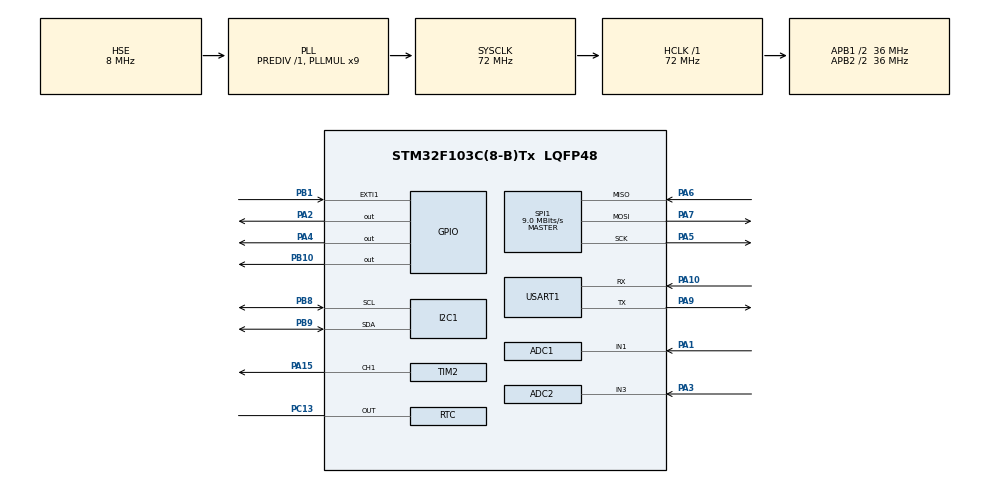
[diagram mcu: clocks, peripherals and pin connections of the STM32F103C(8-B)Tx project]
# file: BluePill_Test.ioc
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ADC1.Channel-1\#ChannelRegularConversion=ADC_CHANNEL_1
ADC1.NbrOfConversionFlag=1
ADC1.Rank-1\#ChannelRegularConversion=1
ADC1.SamplingTime-1\#ChannelRegularConversion=ADC_SAMPLETIME_1CYCLE_5
ADC1.master=1
ADC2.Channel-1\#ChannelRegularConversion=ADC_CHANNEL_3
ADC2.NbrOfConversionFlag=1
ADC2.Rank-1\#ChannelRegularConversion=1
ADC2.SamplingTime-1\#ChannelRegularConversion=ADC_SAMPLETIME_1CYCLE_5
FATFS._MAX_SS=4096
FATFS._USE_LFN=1
Mcu.Family=STM32F1
Mcu.Name=STM32F103C(8-B)Tx
Mcu.Package=LQFP48
NVIC.ADC1_2_IRQn=true\:0\:0\:false\:false\:true\:true\:true\:true
NVIC.EXTI1_IRQn=true\:0\:0\:false\:false\:true\:true\:true\:true
NVIC.PriorityGroup=NVIC_PRIORITYGROUP_4
NVIC.TIM3_IRQn=true\:0\:0\:false\:false\:true\:true\:true\:true
PA1.Signal=ADCx_IN1
PA10.Mode=Asynchronous
PA10.Signal=USART1_RX
PA13.Mode=Serial_Wire
PA13.Signal=SYS_JTMS-SWDIO
PA14.Mode=Serial_Wire
PA14.Signal=SYS_JTCK-SWCLK
PA15.Signal=S_TIM2_CH1_ETR
PA2.Signal=GPIO_Output
PA3.Signal=ADCx_IN3
PA4.Signal=GPIO_Output
PA5.Mode=Full_Duplex_Master
PA5.Signal=SPI1_SCK
PA6.Mode=Full_Duplex_Master
PA6.Signal=SPI1_MISO
PA7.Mode=Full_Duplex_Master
PA7.Signal=SPI1_MOSI
PA9.Mode=Asynchronous
PA9.Signal=USART1_TX
PB1.GPIO_PuPd=GPIO_PULLDOWN
PB1.Signal=GPXTI1
PB10.Signal=GPIO_Output
PB8.Mode=I2C
PB8.Signal=I2C1_SCL
PB9.Mode=I2C
PB9.Signal=I2C1_SDA
PC13-TAMPER-RTC.Mode=RTC OUT
PC13-TAMPER-RTC.Signal=RTC_OUT
PC14-OSC32_IN.Mode=LSE-External-Oscillator
PC14-OSC32_IN.Signal=RCC_OSC32_IN
PC15-OSC32_OUT.Mode=LSE-External-Oscillator
PC15-OSC32_OUT.Signal=RCC_OSC32_OUT
PD0-OSC_IN.Mode=HSE-External-Oscillator
PD0-OSC_IN.Signal=RCC_OSC_IN
PD1-OSC_OUT.Mode=HSE-External-Oscillator
PD1-OSC_OUT.Signal=RCC_OSC_OUT
ProjectManager.HeapSize=0x200
ProjectManager.StackSize=0x400
ProjectManager.TargetToolchain=STM32CubeIDE
RCC.ADCPresc=RCC_ADCPCLK2_DIV6
RCC.AHBFreq_Value=72000000
RCC.APB1CLKDivider=RCC_HCLK_DIV2
RCC.APB1Freq_Value=36000000
RCC.APB1TimFreq_Value=72000000
RCC.APB2CLKDivider=RCC_HCLK_DIV2
RCC.APB2Freq_Value=36000000
RCC.APB2TimFreq_Value=72000000
RCC.HCLKFreq_Value=72000000
RCC.PLLMUL=RCC_PLL_MUL9
RCC.PLLSourceVirtual=RCC_PLLSOURCE_HSE
RCC.SYSCLKFreq_VALUE=72000000
RCC.SYSCLKSource=RCC_SYSCLKSOURCE_PLLCLK
RCC.USBFreq_Value=72000000
RTC.Date=29
RTC.Month=RTC_MONTH_OCTOBER
RTC.WeekDay=RTC_WEEKDAY_TUESDAY
RTC.Year=24
SH.ADCx_IN1.0=ADC1_IN1,IN1
SH.ADCx_IN3.0=ADC2_IN3,IN3
SH.S_TIM2_CH1_ETR.0=TIM2_CH1,PWM Generation1 CH1
SPI1.BaudRatePrescaler=SPI_BAUDRATEPRESCALER_4
SPI1.CalculateBaudRate=9.0 MBits/s
SPI1.Direction=SPI_DIRECTION_2LINES
SPI1.Mode=SPI_MODE_MASTER
SPI1.VirtualType=VM_MASTER
TIM2.Channel-PWM\ Generation1\ CH1=TIM_CHANNEL_1
TIM2.Period=15-1
TIM2.Prescaler=7200-1
TIM3.AutoReloadPreload=TIM_AUTORELOAD_PRELOAD_DISABLE
TIM3.Period=72-1
TIM3.Prescaler=1000-1
USART1.VirtualMode=VM_ASYNC
VP_FATFS_VS_Generic.Mode=User_defined
VP_RTC_VS_RTC_Activate.Mode=RTC_Enabled
VP_RTC_VS_RTC_Calendar.Mode=RTC_Calendar
VP_TIM2_VS_ClockSourceINT.Mode=Internal
VP_TIM3_VS_ClockSourceINT.Mode=Internal
board=custom

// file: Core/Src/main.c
/* USER CODE BEGIN Header */
/**
  ******************************************************************************
  * @file           : main.c
  * @brief          : Main program body
  ******************************************************************************
  * @attention
  *
  * Copyright (c) 2023 STMicroelectronics.
  * All rights reserved.
  *
  * This software is licensed under terms that can be found in the LICENSE file
  * in the root directory of this software component.
  * If no LICENSE file comes with this software, it is provided AS-IS.
  *
  ******************************************************************************
  */
/* USER CODE END Header */
#include "main.h"
#include "adc.h"
#include "fatfs.h"
#include "i2c.h"
#include "rtc.h"
#include "spi.h"
#include "tim.h"
#include "usart.h"
#include "gpio.h"

/* USER CODE BEGIN Includes */
#include "stdio.h"
/* USER CODE END Includes */

/* USER CODE BEGIN PTD */
FATFS fs;
FIL fil;
FRESULT fres;
UINT bw;
char archivo_nombre[32];
uint8_t archivo_abierto = 0;  // Indica si el archivo está abierto
RTC_HandleTypeDef hrtc;

void crear_archivo();
void guardar_datos(uint8_t*);
void cerrar_archivo();
void Get_RTC_DateTime(char *datetime_str);
/* USER CODE END PTD */

/* USER CODE BEGIN PD */
#define ADDR                    0x52    // I²C address of VL6180X shifted by 1 bit (0x29 << 1) so the R/W command can be added.
#define MIN_RANGE_MEAS 			14 		//Min measure = 50mm (para freq)
#define MAX_RANGE_MEAS 			25		//Max measure = 60mm (para freq)
#define MIN_FSR_PRESS_OK		1500	//min value of FSR for hands position
#define duty_sound				7.5     //duty cycle for buzzer 666Hz --> 7.5 = 50% DC.
#define min_battery_OK			4000    //valor minimo de ADC para lectura de bateria y dar un OK para realizar el ensayo.

///////////////////////////////////////////////////////////////////
// register addresses VL6180x(por ahora no los uso)
///////////////////////////////////////////////////////////////////
enum regAddr
    {
      IDENTIFICATION__MODEL_ID              = 0x000,
      IDENTIFICATION__MODEL_REV_MAJOR       = 0x001,
      IDENTIFICATION__MODEL_REV_MINOR       = 0x002,
      IDENTIFICATION__MODULE_REV_MAJOR      = 0x003,
      IDENTIFICATION__MODULE_REV_MINOR      = 0x004,
      IDENTIFICATION__DATE_HI               = 0x006,
      IDENTIFICATION__DATE_LO               = 0x007,
      IDENTIFICATION__TIME                  = 0x008, // 16-bit

      SYSTEM__MODE_GPIO0                    = 0x010,
      SYSTEM__MODE_GPIO1                    = 0x011,
      SYSTEM__HISTORY_CTRL                  = 0x012,
      SYSTEM__INTERRUPT_CONFIG_GPIO         = 0x014,
      SYSTEM__INTERRUPT_CLEAR               = 0x015,
      SYSTEM__FRESH_OUT_OF_RESET            = 0x016,
      SYSTEM__GROUPED_PARAMETER_HOLD        = 0x017,

      SYSRANGE__START                       = 0x018,
      SYSRANGE__THRESH_HIGH                 = 0x019,
      SYSRANGE__THRESH_LOW                  = 0x01A,
      SYSRANGE__INTERMEASUREMENT_PERIOD     = 0x01B,
      SYSRANGE__MAX_CONVERGENCE_TIME        = 0x01C,
      SYSRANGE__CROSSTALK_COMPENSATION_RATE = 0x01E, // 16-bit
      SYSRANGE__CROSSTALK_VALID_HEIGHT      = 0x021,
      SYSRANGE__EARLY_CONVERGENCE_ESTIMATE  = 0x022, // 16-bit
      SYSRANGE__PART_TO_PART_RANGE_OFFSET   = 0x024,
      SYSRANGE__RANGE_IGNORE_VALID_HEIGHT   = 0x025,
      SYSRANGE__RANGE_IGNORE_THRESHOLD      = 0x026, // 16-bit
      SYSRANGE__MAX_AMBIENT_LEVEL_MULT      = 0x02C,
      SYSRANGE__RANGE_CHECK_ENABLES         = 0x02D,
      SYSRANGE__VHV_RECALIBRATE             = 0x02E,
      SYSRANGE__VHV_REPEAT_RATE             = 0x031,

      SYSALS__START                         = 0x038,
      SYSALS__THRESH_HIGH                   = 0x03A,
      SYSALS__THRESH_LOW                    = 0x03C,
      SYSALS__INTERMEASUREMENT_PERIOD       = 0x03E,
      SYSALS__ANALOGUE_GAIN                 = 0x03F,
      SYSALS__INTEGRATION_PERIOD            = 0x040,

      RESULT__RANGE_STATUS                  = 0x04D,
      RESULT__ALS_STATUS                    = 0x04E,
      RESULT__INTERRUPT_STATUS_GPIO         = 0x04F,
      RESULT__ALS_VAL                       = 0x050, // 16-bit
      RESULT__HISTORY_BUFFER_0              = 0x052, // 16-bit
      RESULT__HISTORY_BUFFER_1              = 0x054, // 16-bit
      RESULT__HISTORY_BUFFER_2              = 0x056, // 16-bit
      RESULT__HISTORY_BUFFER_3              = 0x058, // 16-bit
      RESULT__HISTORY_BUFFER_4              = 0x05A, // 16-bit
      RESULT__HISTORY_BUFFER_5              = 0x05C, // 16-bit
      RESULT__HISTORY_BUFFER_6              = 0x05E, // 16-bit
      RESULT__HISTORY_BUFFER_7              = 0x060, // 16-bit
      RESULT__RANGE_VAL                     = 0x062,
      RESULT__RANGE_RAW                     = 0x064,
      RESULT__RANGE_RETURN_RATE             = 0x066, // 16-bit
      RESULT__RANGE_REFERENCE_RATE          = 0x068, // 16-bit
      RESULT__RANGE_RETURN_SIGNAL_COUNT     = 0x06C, // 32-bit
      RESULT__RANGE_REFERENCE_SIGNAL_COUNT  = 0x070, // 32-bit
      RESULT__RANGE_RETURN_AMB_COUNT        = 0x074, // 32-bit
      RESULT__RANGE_REFERENCE_AMB_COUNT     = 0x078, // 32-bit
      RESULT__RANGE_RETURN_CONV_TIME        = 0x07C, // 32-bit
      RESULT__RANGE_REFERENCE_CONV_TIME     = 0x080, // 32-bit

      RANGE_SCALER                          = 0x096, // 16-bit

      READOUT__AVERAGING_SAMPLE_PERIOD      = 0x10A,
      FIRMWARE__BOOTUP                      = 0x119,
      FIRMWARE__RESULT_SCALER               = 0x120,
      I2C_SLAVE__DEVICE_ADDRESS             = 0x212,
      INTERLEAVED_MODE__ENABLE              = 0x2A3,
    };
/* USER CODE END PD */

RTC_HandleTypeDef hrtc;

SPI_HandleTypeDef hspi1;

void SystemClock_Config(void);
void MX_GPIO_Init(void);
void MX_SPI1_Init(void);
void MX_RTC_Init(void);
/* USER CODE BEGIN PFP */

int init = 1;
extern int volatile timer_1m; //flag para el timer de 1 minuto
extern int volatile timer_buzzer; //timer para activar el pwm del buzzer.
extern int volatile timer_startsound;
uint32_t last_compression_times[10] = {0}; // Ventana de tiempo de los últimos 2 segundos (10 mediciones de 200 ms)
uint8_t compression_index = 0;
int max_depth = 0;
void WriteByte(wchar_t, char);
char ReadByte(wchar_t);
int  VL6180X_Init();
int  VL6180X_Start_Range();
int  VL6180X_Poll_Range();
int  VL6180X_Read_Range();
int  VL6180X_Clear_Interrupts();
void startsound();
void buzzer();
int VL6180x_offset();
int FSR_offset();
int calculate_frequency();
status_TypeDef  FSR_Check(uint16_t);

/* USER CODE END PFP */

int main(void)
{
  /* USER CODE BEGIN 1 */
	uint8_t MSG[100] = {'\0'};
	int DISTANCE_value = 0, distance_offsetok = 0, FSR_offsetok = 0, FSR_value = 0, battery_lvl = 0;
	int compression_count = 0, compression_active = 0;
  /* USER CODE END 1 */

  /* MCU Configuration--------------------------------------------------------*/

  /* Reset of all peripherals, Initializes the Flash interface and the Systick. */
  HAL_Init();

  /* Configure the system clock */
  SystemClock_Config();

  /* Initialize all configured peripherals */
  MX_GPIO_Init();
  MX_I2C1_Init();
  MX_USART1_UART_Init();
  MX_ADC2_Init();
  MX_TIM2_Init();
  MX_TIM3_Init();
  MX_ADC1_Init();
  MX_SPI1_Init();
  MX_FATFS_Init();
  MX_RTC_Init();
  /* USER CODE BEGIN 2 */
  VL6180X_Init(); //load settings on to VL6180X.
  HAL_ADCEx_Calibration_Start(&hadc1);
  HAL_ADCEx_Calibration_Start(&hadc2);// Calibrate The ADC On Power-Up For Better Accuracy
  /* USER CODE END 2 */

  /* Infinite loop */
  /* USER CODE BEGIN WHILE */
  while (1)
  {
	  //AGREGAR LECTURA DE BATERIA, SI ES OK INICIAR ENSAYO, SINO INDICAR QUE LA BATERIA EST�? BAJA (LUZ O SONIDO?)
	// if(timer_1m >= 0.001 && timer_1m <= 750){startsound();	 }
	//  if(timer_1m >= 2200 && timer_1m <= 62200){ //ensayo de 1 minuto

		  //start sound buzzer
		  buzzer();

		  // start single range measurement
		  VL6180X_Start_Range();

		  // poll the VL6180X till new sample ready
		  VL6180X_Poll_Range();

		  // Start ADC Conversion FOR FSR & Read batery lvl
		  HAL_ADC_Start(&hadc1);
		  HAL_ADC_Start(&hadc2);

		  // Poll ADC1&ADC2 Perihperal & TimeOut = 1mSec
		  HAL_ADC_PollForConversion(&hadc1, 1);
		  HAL_ADC_PollForConversion(&hadc2, 1);
		  battery_lvl = HAL_ADC_GetValue(&hadc1);

		  //funcion para obtener offset del sensor de distancia y FSR
		  if(init==1){
			  distance_offsetok = VL6180x_offset();
			  FSR_offsetok = FSR_offset();
		  }
		  init = 0;

		  //if (!archivo_abierto) {
		  	//			crear_archivo();
		  		//	}

		  // read range result in [mm] (AVG)
		  DISTANCE_value = 0, FSR_value = 0;
		  for(int a = 0; a < 10; a++){
			  VL6180X_Start_Range();
			  VL6180X_Poll_Range();
			  DISTANCE_value += VL6180X_Read_Range();
			  FSR_value += HAL_ADC_GetValue(&hadc2);
			 // HAL_Delay(1); //estaba en 2, probar y despues probar sacandolo.
		  }

		  DISTANCE_value = distance_offsetok - (DISTANCE_value/10); //calculo de distancia restando el offset.
		  FSR_value = (FSR_value/10) - FSR_offsetok; //calculo FSR menos el offset
		  if(DISTANCE_value < 0 ){DISTANCE_value = 0;} //esto es por si tira algun valor negativo (-2 x ej), pongo q directamente sea 0
		  if(FSR_value < 0 ){FSR_value = 0;}

		  // Detección de compresión
		            if (DISTANCE_value >= MIN_RANGE_MEAS && DISTANCE_value <= MAX_RANGE_MEAS) {
		                if (!compression_active) {
		                    compression_active = 1;
		                }
		            } else {
		                if (compression_active) {
		                    compression_active = 0; // Final de la compresión
		                    last_compression_times[compression_index] = HAL_GetTick();
		                    compression_index = (compression_index + 1) % 10;
		                    if (DISTANCE_value > max_depth) {
		                  	  max_depth = DISTANCE_value; // Actualizar máxima profundidad alcanzada
		                    }
		                    int frequency = calculate_frequency(); // Calcular frecuencia

		                    // Enviar datos al finalizar la compresión
		                    const char* hand_position = (FSR_Check(FSR_value) == PASS_OK) ? "OK" : "NOK";
		                    sprintf(MSG, "\nUBICACION= %s MAX PROFUNDIDAD= %d FRECUENCIA= %d Hz", hand_position, max_depth, frequency);
		                    HAL_UART_Transmit(&huart1, MSG, sizeof(MSG), 100);

		                    max_depth = 0; // Reiniciar profundidad máxima para la siguiente compresión
		                }
		            }
		            //guardar_datos(MSG);
		            VL6180X_Clear_Interrupts();
		        }

		        if (timer_1m > 62200) { // Termina ensayo
		            HAL_TIM_Base_Stop_IT(&htim3);
		            HAL_TIM_PWM_Stop(&htim2, TIM_CHANNEL_1);
		            cerrar_archivo();
		            timer_1m = 0;
		            init = 1;
		            compression_count = 0;
		        }
		    }
  /* USER CODE END 3 */

void SystemClock_Config(void)
{
  RCC_OscInitTypeDef RCC_OscInitStruct = {0};
  RCC_ClkInitTypeDef RCC_ClkInitStruct = {0};
  RCC_PeriphCLKInitTypeDef PeriphClkInit = {0};

  /** Initializes the RCC Oscillators according to the specified parameters
  * in the RCC_OscInitTypeDef structure.
  */
  RCC_OscInitStruct.OscillatorType = RCC_OSCILLATORTYPE_LSI|RCC_OSCILLATORTYPE_HSE;
  RCC_OscInitStruct.HSEState = RCC_HSE_ON;
  RCC_OscInitStruct.HSEPredivValue = RCC_HSE_PREDIV_DIV1;
  RCC_OscInitStruct.HSIState = RCC_HSI_ON;
  RCC_OscInitStruct.LSIState = RCC_LSI_ON;
  RCC_OscInitStruct.PLL.PLLState = RCC_PLL_ON;
  RCC_OscInitStruct.PLL.PLLSource = RCC_PLLSOURCE_HSE;
  RCC_OscInitStruct.PLL.PLLMUL = RCC_PLL_MUL9;
  if (HAL_RCC_OscConfig(&RCC_OscInitStruct) != HAL_OK)
  {
    Error_Handler();
  }

  /** Initializes the CPU, AHB and APB buses clocks
  */
  RCC_ClkInitStruct.ClockType = RCC_CLOCKTYPE_HCLK|RCC_CLOCKTYPE_SYSCLK
                              |RCC_CLOCKTYPE_PCLK1|RCC_CLOCKTYPE_PCLK2;
  RCC_ClkInitStruct.SYSCLKSource = RCC_SYSCLKSOURCE_PLLCLK;
  RCC_ClkInitStruct.AHBCLKDivider = RCC_SYSCLK_DIV1;
  RCC_ClkInitStruct.APB1CLKDivider = RCC_HCLK_DIV2;
  RCC_ClkInitStruct.APB2CLKDivider = RCC_HCLK_DIV2;

  if (HAL_RCC_ClockConfig(&RCC_ClkInitStruct, FLASH_LATENCY_2) != HAL_OK)
  {
    Error_Handler();
  }
  PeriphClkInit.PeriphClockSelection = RCC_PERIPHCLK_RTC|RCC_PERIPHCLK_ADC;
  PeriphClkInit.RTCClockSelection = RCC_RTCCLKSOURCE_LSI;
  PeriphClkInit.AdcClockSelection = RCC_ADCPCLK2_DIV6;
  if (HAL_RCCEx_PeriphCLKConfig(&PeriphClkInit) != HAL_OK)
  {
    Error_Handler();
  }
}

/* USER CODE BEGIN 4 */

void crear_archivo() {

	fres = f_mount(&fs, "", 1);

	if (fres != FR_OK) {
		return;
	}

	char archivo_nombre[50];
	Get_RTC_DateTime(archivo_nombre);

	if (!archivo_abierto) {

		fres = f_open(&fil, archivo_nombre, FA_OPEN_ALWAYS | FA_WRITE | FA_READ);
		archivo_abierto= 1;

		if (fres != FR_OK) {
			// Si hay un error al abrir el archivo, salir del ciclo
			return;
		}

	}

}

void guardar_datos(uint8_t* datos) {
	// Verifica si el archivo está abierto
	if (archivo_abierto) {
		f_write(&fil, datos, sizeof(uint8_t) * 100, &bw);
	}
}

void cerrar_archivo() {
	if (archivo_abierto) {
		f_close(&fil);  // Cerrar el archivo
		archivo_abierto = 0;  // Marcamos que el archivo está cerrado

	}
}

void Get_RTC_DateTime(char *datetime_str) {
	RTC_TimeTypeDef sTime;
	RTC_DateTypeDef sDate;

	// Obtener la hora actual
	HAL_RTC_GetTime(&hrtc, &sTime, RTC_FORMAT_BIN);

	// Obtener la fecha actual
	HAL_RTC_GetDate(&hrtc, &sDate, RTC_FORMAT_BIN);

	// Formatear la fecha y la hora en una cadena
	sprintf(datetime_str, "Ensayo_%02d-%02d-%02d_%02d-%02d-%02d.txt",
			sDate.Year + 2000,  // Año
			sDate.Month,        // Mes
			sDate.Date,         // Día
			sTime.Hours,        // Hora
			sTime.Minutes,      // Minuto
			sTime.Seconds);     // Segundo
}

///////////////////////////////////////////////////////////////////
// ISR PIN_B1 PULL UP
// DESC.: START BUTTON.
///////////////////////////////////////////////////////////////////
void HAL_GPIO_EXTI_Callback(uint16_t GPIO_Pin)
{
	if(GPIO_Pin == GPIO_PIN_1){
		HAL_TIM_Base_Start_IT(&htim3); //START TIMER 1mS
	}
}

///////////////////////////////////////////////////////////////////
// Split 16-bit register address into two bytes and write
// the address + data via I²C
///////////////////////////////////////////////////////////////////

void WriteByte(wchar_t reg_addr, char data2wr) {
	uint8_t data_write[3];

	data_write[0] = (reg_addr >> 8) & 0xFF; // MSB of register address
	data_write[1] = reg_addr & 0xFF;       // LSB of register address
	data_write[2] = data2wr & 0xFF;
	HAL_I2C_Master_Transmit(&hi2c1, ADDR, data_write, 3, 1000);
}

///////////////////////////////////////////////////////////////////
// Split 16-bit register address into two bytes and write
// required register address to VL6180X and read the data back
///////////////////////////////////////////////////////////////////
char ReadByte(wchar_t reg) {
	uint8_t data_write[2];
	uint8_t data_read[1];

	data_write[0] = (reg >> 8) & 0xFF; // MSB of register address
	data_write[1] = reg & 0xFF;       // LSB of register address

	HAL_I2C_Master_Transmit(&hi2c1, ADDR, data_write, 2, 1000);
	HAL_I2C_Master_Receive(&hi2c1, ADDR, data_read, 1, 1000);
	return data_read[0];
}

///////////////////////////////////////////////////////////////////
//DESC.: load VL6180X settings
///////////////////////////////////////////////////////////////////

int VL6180X_Init() {

	HAL_GPIO_WritePin(GPIOB, GPIO_PIN_10, SET); //GPIO0 to logic ‘1’ allows the device to come out of reset.
	HAL_Delay(1);								//Necesita ese ms.
	uint8_t reset;

	reset = ReadByte(0x0016);
	if(reset != 1){
		WriteByte(0x0016, 0x01);
		HAL_GPIO_WritePin(GPIOB, GPIO_PIN_10, RESET);
		HAL_Delay(5);
		HAL_GPIO_WritePin(GPIOB, GPIO_PIN_10, SET);
	}
	WriteByte(0x0207, 0x01);
	WriteByte(0x0208, 0x01);
	WriteByte(0x0133, 0x01);
	WriteByte(0x0096, 0x00);
	WriteByte(0x0097, 0xFD); // RANGE_SCALER = 253 FD
	WriteByte(0x00e3, 0x00);
	WriteByte(0x00e4, 0x04);
	WriteByte(0x00e5, 0x02);
	WriteByte(0x00e6, 0x01);
	WriteByte(0x00e7, 0x03);
	WriteByte(0x00f5, 0x02);
	WriteByte(0x00D9, 0x05);
	WriteByte(0x00DB, 0xCE);
	WriteByte(0x00DC, 0x03);
	WriteByte(0x00DD, 0xF8);
	WriteByte(0x009f, 0x00);
	WriteByte(0x00a3, 0x3c);
	WriteByte(0x00b7, 0x00);
	WriteByte(0x00bb, 0x3c);
	WriteByte(0x00b2, 0x09);
	WriteByte(0x00ca, 0x09);
	WriteByte(0x0198, 0x01);
	WriteByte(0x01b0, 0x17);
    WriteByte(0x01ad, 0x00);
	WriteByte(0x00FF, 0x05);
	WriteByte(0x0100, 0x05);
	WriteByte(0x0199, 0x05);
	WriteByte(0x0109, 0x07);
	WriteByte(0x010a, 0x30);
	WriteByte(0x003f, 0x46);
	WriteByte(0x01a6, 0x1b);
	WriteByte(0x01ac, 0x3e);
	WriteByte(0x01a7, 0x1f);
	WriteByte(0x0103, 0x01);
	WriteByte(0x0030, 0x00);
	WriteByte(0x001b, 0x0A);
	WriteByte(0x003e, 0x0A);
	WriteByte(0x0131, 0x04);
	WriteByte(0x0011, 0x10);
	WriteByte(0x0014, 0x24);
	WriteByte(0x0031, 0xFF);
	WriteByte(0x00d2, 0x01);
	WriteByte(0x00f2, 0x01);

	return 0;
}

///////////////////////////////////////////////////////////////////
// Start a range measurement in single shot mode
///////////////////////////////////////////////////////////////////
int VL6180X_Start_Range() {
	WriteByte(0x0018,0x01);
	return 0;
}

///////////////////////////////////////////////////////////////////
// DESC.:poll for new sample ready ready
// When the measurement of VL6180X_Start_Range() is completed, bit 2
// of RESULT__INTERRUPT_STATUS_GPIO{0x4F} will be set.
///////////////////////////////////////////////////////////////////
int VL6180X_Poll_Range() {
	char status;
	char range_status;

	// check the status
	status = ReadByte(0x004f);
	range_status = status & 0x07;

	// wait for new measurement ready status
	while (range_status != 0x04) {
		status = ReadByte(0x004f);
		range_status = status & 0x07;
		HAL_Delay(1);
	}
	return 0;
}

///////////////////////////////////////////////////////////////////
// Read range result (mm)
///////////////////////////////////////////////////////////////////
int VL6180X_Read_Range() {
	int range;
	range=ReadByte(0x0062);
	return range;
}

///////////////////////////////////////////////////////////////////
// clear interrupts
///////////////////////////////////////////////////////////////////
int VL6180X_Clear_Interrupts() {
	 WriteByte(0x0015,0x07);
	 return 0;
}

///////////////////////////////////////////////////////////////////
//FSR check
//DESC.: Check the hands position
///////////////////////////////////////////////////////////////////
status_TypeDef FSR_Check(uint16_t FSR_VALUE){
	if(MIN_FSR_PRESS_OK < FSR_VALUE) return PASS_OK;
	else return FAIL;
}

///////////////////////////////////////////////////////////////////////////////
// start sound
// DESC.: 3 tonos diferentes para el inicio modificando el ARR del mismo timer
//////////////////////////////////////////////////////////////////////////////
void startsound(){
	if(timer_startsound>0.1 && timer_startsound<=250){
		TIM2->ARR = 17-1; //600hz
		TIM2->CCR1 = 8.5;
		HAL_TIM_PWM_Start(&htim2, TIM_CHANNEL_1);
	}

	if(timer_startsound>250 && timer_startsound<=500){
		TIM2->ARR = 12-1; //800hz
		TIM2->CCR1 = 6;
	}

	if(timer_startsound>500 && timer_startsound<=750){
		TIM2->ARR = 10-1;//1000hz
		TIM2->CCR1 = 5;
	}

	if(timer_startsound >= 750){HAL_TIM_PWM_Stop(&htim2, TIM_CHANNEL_1);timer_startsound=0;}

}

///////////////////////////////////////////////////////////////////
// Buzzer sound
// DESC.: 0,5s turn on PWM for tone, 0,5s turn off PWM
///////////////////////////////////////////////////////////////////
void buzzer(){
	if(timer_buzzer>0.001 && timer_buzzer<=250){ //durante 0,25s PWM BUZZER ON
		TIM2->ARR = 15-1;
		TIM2->CCR1 = duty_sound;
		HAL_TIM_PWM_Start(&htim2, TIM_CHANNEL_1);//START PWM FOR BUZZER SOUND
	}
	if(timer_buzzer>=250 && timer_buzzer<=500){ //apago el timer despues de 250 ms y cumplo el periodo de 500ms para una maniobra
		HAL_TIM_PWM_Stop(&htim2, TIM_CHANNEL_1);
	}
	if(timer_buzzer>=500){timer_buzzer=0;} //reinicio la cuenta del timer
}

///////////////////////////////////////////////////////////////////
// func.:zero_distance
// DESC.: returns offset distance
///////////////////////////////////////////////////////////////////
int VL6180x_offset(){
	int offset_measure = 0;
	for(int i = 0; i<15; i++){
		offset_measure += VL6180X_Read_Range();
		//HAL_Delay(2);
	}
	return offset_measure = offset_measure/15; //promedio de lecturas para obtener el offset
}

///////////////////////////////////////////////////////////////////
// func.:FSR value
// DESC.: calculates FSR offset.
///////////////////////////////////////////////////////////////////
int FSR_offset(){
	int offset = 0;
	// Start ADC Conversion FOR FSR
	HAL_ADC_Start(&hadc2);

	// Poll ADC1 Perihperal & TimeOut = 1mSec
	HAL_ADC_PollForConversion(&hadc2, 1);

	for(int j = 0; j < 15; j++){
		offset += HAL_ADC_GetValue(&hadc2);
	}
	return offset = offset / 15;
}

///////////////////////////////////////////////////////////////////
// func.:calculate freq
// DESC.:Función para calcular frecuencia en ventana de 2 segundos
///////////////////////////////////////////////////////////////////
int calculate_frequency() {
    uint32_t current_time = HAL_GetTick(); // Tiempo actual en ms
    int recent_compressions = 0;
    for (int i = 0; i < 10; i++) {
        if ((current_time - last_compression_times[i]) <= 2000) {
            recent_compressions++;
        }
    }
    return recent_compressions / 2; // Frecuencia en Hz (cada 2 segundos)
}

/* USER CODE END 4 */

void Error_Handler(void)
{
  __disable_irq();
  while (1)
  {
  }
}
